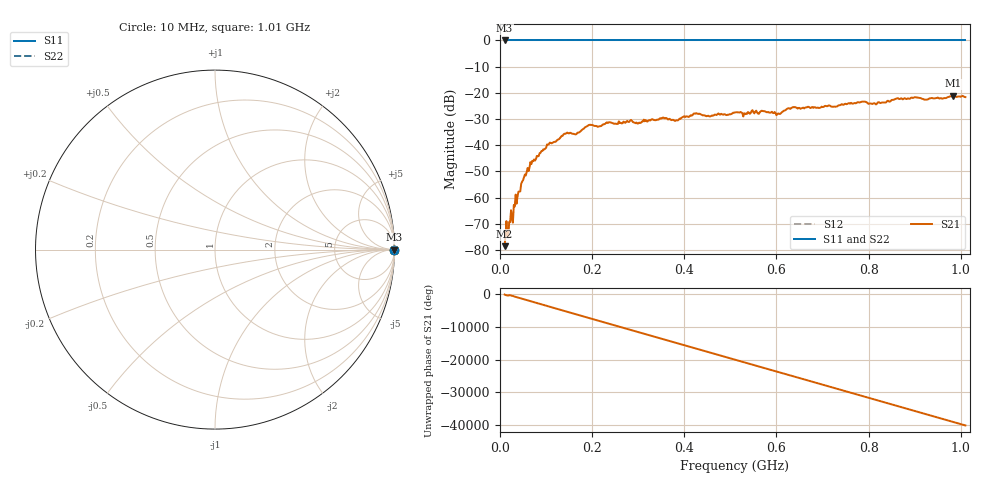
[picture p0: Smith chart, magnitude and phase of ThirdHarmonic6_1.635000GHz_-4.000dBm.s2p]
! 8/16/2025 7:32:47 PM
! C:\ANRITSUVNA\TEMP\TEMP.S2P
! CHANNEL.1
! TR.MEASUREMENT
! RAW.DATA
! RF.CORRECTION.OFF
! AVERAGING.OFF
! IF.BANDWIDTH: 5KHZ
! SWEEPTYPE:  FREQ.SWEEP(Linear)
! Reference Plane Port Info
! PORT:  PORT1  PORT2
! DISTANCE:  0  m  0  m
! TIME:  0  s  0  s
! PHASE.OFFSET:  0  deg.  0  deg.
! LOSS:  0  dB  0  dB
! REF.LOSS:  0  dB  0  dB
! REF.FREQ:  0  Hz  0  Hz
! Power Info
! POWER:  -20  dBm  -20  dBm
! EFF.POWER:  -20  dBm  -20  dBm
! SOURCE.ATTEN:  0  dB  0  dB
! TEST.ATTEN:  0  dB  0  dB
# GHZ S RI R 50.0
! FREQ.GHZ  S11RE  S11IM  S21RE  S21IM  S12RE  S12IM  S22RE  S22IM
!; PortSelection: Port_12
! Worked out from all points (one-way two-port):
!   501 points, 10 MHz to 1.01 GHz, reference 50 ohm
!   highest |S21| = -21.10 dB at 984 MHz (marker M1); lowest = -78.6 dB at 10 MHz (marker M2)
!   lowest |S11| = 0.0 dB at 10 MHz (marker M3)
!   |S11| at or under -10 dB: nowhere
!   |S22| runs from 0.0 to 0.0 dB; largest |S21 - S12| = 1.1
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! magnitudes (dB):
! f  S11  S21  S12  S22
! 10 MHz  0.0  -78.6  0.0  0.0
! 50 MHz  0.0  -53.4  0.0  0.0
! 70 MHz  0.0  -46.0  0.0  0.0
! 106 MHz  0.0  -39.6  0.0  0.0
! 142 MHz  0.0  -35.7  0.0  0.0
! 162 MHz  0.0  -35.8  0.0  0.0
! 178 MHz  0.0  -34.1  0.0  0.0
! 196 MHz  0.0  -32.2  0.0  0.0
! 302 MHz  0.0  -31.4  0.0  0.0
! 344 MHz  0.0  -30.3  0.0  0.0
! 382 MHz  0.0  -30.5  0.0  0.0
! 424 MHz  0.0  -28.0  0.0  0.0
! 452 MHz  0.0  -28.8  0.0  0.0
! 510 MHz  0.0  -27.5  0.0  0.0
! 532 MHz  0.0  -28.2  0.0  0.0
! 570 MHz  0.0  -27.0  0.0  0.0
! 604 MHz  0.0  -27.9  0.0  0.0
! 636 MHz  0.0  -25.4  0.0  0.0
! 678 MHz  0.0  -25.4  0.0  0.0
! 844 MHz  0.0  -23.3  0.0  0.0
! 984 MHz  0.0  -21.1  0.0  0.0
! 1.01 GHz  0.0  -21.6  0.0  0.0
